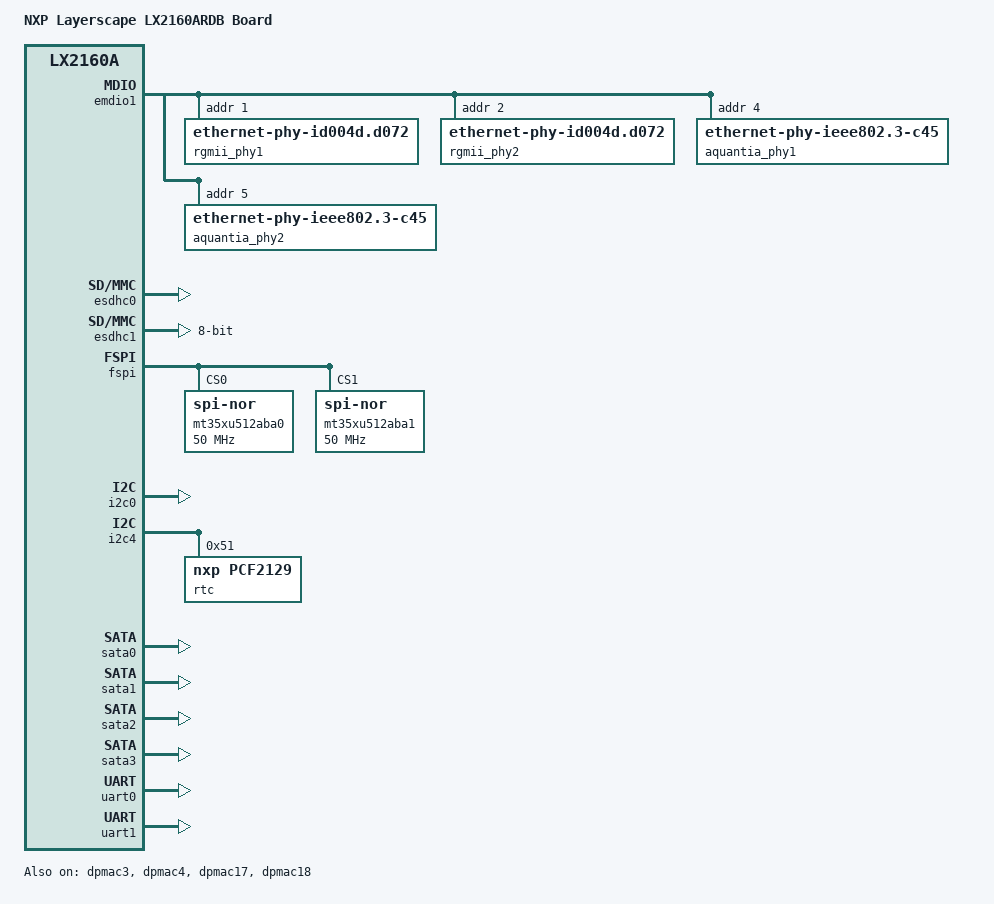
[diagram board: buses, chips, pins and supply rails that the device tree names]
// SPDX-License-Identifier: GPL-2.0+ OR X11
/*
 * NXP LX2160ARDB device tree source
 *
 * Author:	Priyanka Jain <priyanka.jain@nxp.com>
 *		Sriram Dash <sriram.dash@nxp.com>
 *
 * Copyright 2018, 2023 NXP
 *
 */

/dts-v1/;

#include "fsl-lx2160a.dtsi"

/ {
	model = "NXP Layerscape LX2160ARDB Board";
	compatible = "fsl,lx2160ardb", "fsl,lx2160a";
	aliases {
		spi0 = &fspi;
		serial0 = &uart0;
	};
};

&dpmac3 {
	status = "okay";
	phy-handle = <&aquantia_phy1>;
	phy-connection-type = "usxgmii";
};

&dpmac4 {
	status = "okay";
	phy-handle = <&aquantia_phy2>;
	phy-connection-type = "usxgmii";
};

&dpmac17 {
	status = "okay";
	phy-handle = <&rgmii_phy1>;
	phy-connection-type = "rgmii-id";
};

&dpmac18 {
	status = "okay";
	phy-handle = <&rgmii_phy2>;
	phy-connection-type = "rgmii-id";
};

&emdio1 {
	status = "okay";
	rgmii_phy1: ethernet-phy@1 {
		/* AR8035 PHY - "compatible" property not strictly needed */
		compatible = "ethernet-phy-id004d.d072";
		reg = <0x1>;
		/* Poll mode - no "interrupts" property defined */
	};
	rgmii_phy2: ethernet-phy@2 {
		/* AR8035 PHY - "compatible" property not strictly needed */
		compatible = "ethernet-phy-id004d.d072";
		reg = <0x2>;
		/* Poll mode - no "interrupts" property defined */
	};
	aquantia_phy1: ethernet-phy@4 {
		/* AQR107 PHY - "compatible" property not strictly needed */
		compatible = "ethernet-phy-ieee802.3-c45";
		interrupts = <GIC_SPI 2 IRQ_TYPE_LEVEL_HIGH>;
		reg = <0x4>;
	};
	aquantia_phy2: ethernet-phy@5 {
		/* AQR107 PHY - "compatible" property not strictly needed */
		compatible = "ethernet-phy-ieee802.3-c45";
		interrupts = <GIC_SPI 3 IRQ_TYPE_LEVEL_HIGH>;
		reg = <0x5>;
	};
};

&esdhc0 {
	status = "okay";
};

&esdhc1 {
	status = "okay";
	mmc-hs200-1_8v;
	mmc-hs400-1_8v;
	bus-width = <8>;
};

&fspi {
	status = "okay";

	mt35xu512aba0: flash@0 {
		#address-cells = <1>;
		#size-cells = <1>;
		compatible = "jedec,spi-nor";
		spi-max-frequency = <50000000>;
		reg = <0>;
		spi-rx-bus-width = <8>;
		spi-tx-bus-width = <1>;
	};

	mt35xu512aba1: flash@1 {
		#address-cells = <1>;
		#size-cells = <1>;
		compatible = "jedec,spi-nor";
		spi-max-frequency = <50000000>;
		reg = <1>;
		spi-rx-bus-width = <8>;
		spi-tx-bus-width = <1>;
	};
};

&i2c0 {
	status = "okay";
	bootph-all;
};

&i2c4 {
	status = "okay";

	rtc@51 {
		compatible = "nxp,pcf2129";
		reg = <0x51>;
	};
};

&sata0 {
	status = "okay";
};

&sata1 {
	status = "okay";
};

&sata2 {
	status = "okay";
};

&sata3 {
	status = "okay";
};

&uart0 {
	status = "okay";
};

&uart1 {
	status = "okay";
};
